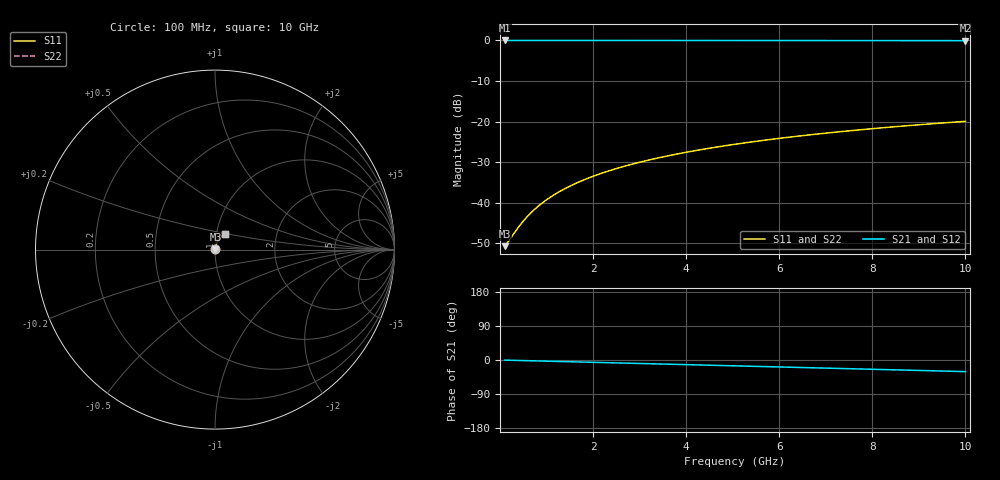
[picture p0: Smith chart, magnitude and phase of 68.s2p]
# Hz S RI R 50.00
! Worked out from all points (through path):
!   100 points, 100 MHz to 10 GHz, reference 50 ohm
!   highest |S21| = -0.02 dB at 100 MHz (marker M1); lowest = -0.1 dB at 10 GHz (marker M2)
!   group delay of S21, straight-line fit = 8.52 ps
!   lowest |S11| = -50.7 dB at 100 MHz (marker M3), VSWR 1.01, Z = 50.3 + j0.105 ohm
!   |S11| at or under -10 dB: start of sweep to end of sweep
!   |S22| runs from -50.7 to -19.9 dB; largest |S21 - S12| = 0
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1e8  0.00274 0.00104  0.9972 -0.00531  0.9972 -0.00531  0.00274 0.00104
2e8  0.00277 0.00208  0.9972 -0.0106  0.9972 -0.0106  0.00277 0.00208
4e8  0.00286 0.00416  0.997 -0.0213  0.997 -0.0213  0.00286 0.00416
5e8  0.00291 0.00519  0.9968 -0.0266  0.9968 -0.0266  0.00291 0.00519
6e8  0.00298 0.00623  0.9967 -0.0319  0.9967 -0.0319  0.00298 0.00623
7e8  0.00306 0.00727  0.9965 -0.0372  0.9965 -0.0372  0.00306 0.00727
8e8  0.00315 0.0083  0.9962 -0.0425  0.9962 -0.0425  0.00315 0.0083
1e9  0.00336 0.0104  0.9957 -0.0531  0.9957 -0.0531  0.00336 0.0104
1.2e9  0.00361 0.0124  0.995 -0.0637  0.995 -0.0637  0.00361 0.0124
1.5e9  0.00406 0.0155  0.9938 -0.0796  0.9938 -0.0796  0.00406 0.0155
1.8e9  0.00462 0.0186  0.9923 -0.0955  0.9923 -0.0955  0.00462 0.0186
2.1e9  0.00527 0.0216  0.9906 -0.1114  0.9906 -0.1114  0.00527 0.0216
2.5e9  0.00629 0.0256  0.9879 -0.1325  0.9879 -0.1325  0.00629 0.0256
2.9e9  0.00748 0.0296  0.9847 -0.1535  0.9847 -0.1535  0.00748 0.0296
3.4e9  0.0092 0.0345  0.98 -0.1797  0.98 -0.1797  0.0092 0.0345
4.2e9  0.0125 0.0421  0.9711 -0.2214  0.9711 -0.2214  0.0125 0.0421
5.1e9  0.017 0.0503  0.9589 -0.2677  0.9589 -0.2677  0.017 0.0503
5.9e9  0.0216 0.0572  0.9461 -0.3083  0.9461 -0.3083  0.0216 0.0572
6.7e9  0.0268 0.0637  0.9315 -0.3484  0.9315 -0.3484  0.0268 0.0637
7.5e9  0.0326 0.0697  0.9151 -0.3878  0.9151 -0.3878  0.0326 0.0697
8.4e9  0.0396 0.0759  0.8947 -0.4312  0.8947 -0.4312  0.0396 0.0759
1e10  0.0536 0.0852  0.8531 -0.5056  0.8531 -0.5056  0.0536 0.0852
